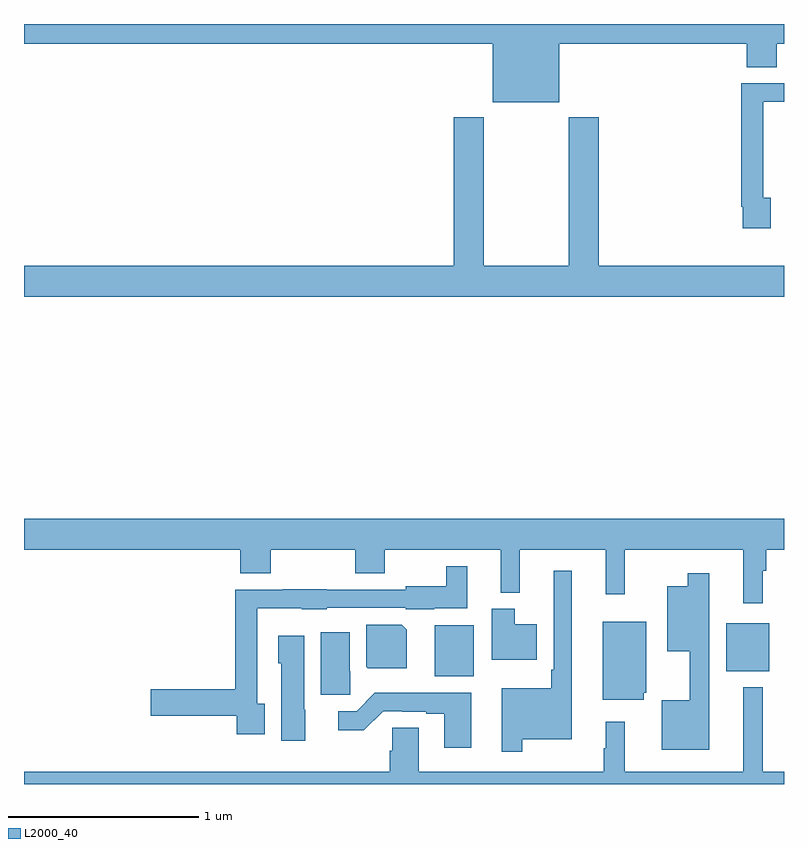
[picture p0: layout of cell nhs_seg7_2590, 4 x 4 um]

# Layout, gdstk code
import gdstk
lib = gdstk.Library(unit=1e-6, precision=1e-09)
def R(c, l, rs):  # rectangles x0, y0, x1, y1
    for r in rs: c.add(gdstk.rectangle(r[:2], r[2:], *l))
def P(c, l, *ps):  # polygons
    for p in ps: c.add(gdstk.Polygon(p, *l))
L2000_40 = (2000, 40)

nhs_seg7_2590 = lib.new_cell('nhs_seg7_2590')
R(nhs_seg7_2590, L2000_40, [(281.162,1050.566,281.368,1050.836), (282.695,1050.593,282.922,1050.847)])
P(nhs_seg7_2590, L2000_40, [(281.818,1053.896),(282.803,1053.896),(282.803,1053.772),(282.963,1053.772),(282.963,1053.896),(283,1053.896),(283,1054),(279,1054),(279,1053.896),(281.468,1053.896),(281.468,1053.587),(281.818,1053.587)],
  [(282.931,1053.086),(282.891,1053.086),(282.891,1053.59),(283,1053.59),(283,1053.687),(282.775,1053.687),(282.775,1053.037),(282.783,1053.037),(282.783,1052.925),(282.931,1052.925)],
  [(283,1052.728),(282.026,1052.728),(282.026,1053.508),(281.866,1053.508),(281.866,1052.728),(281.421,1052.728),(281.421,1053.508),(281.261,1053.508),(281.261,1052.728),(279,1052.728),(279,1052.564),(283,1052.564)],
  [(282.889,1051.123),(282.907,1051.123),(282.907,1051.232),(283,1051.232),(283,1051.396),(279,1051.396),(279,1051.232),(280.139,1051.232),(280.139,1051.108),(280.299,1051.108),(280.299,1051.232),(280.744,1051.232),(280.744,1051.108),(280.899,1051.108),(280.899,1051.232),(281.51,1051.232),(281.51,1051.007),(281.609,1051.007),(281.609,1051.232),(282.062,1051.232),(282.062,1050.999),(282.162,1050.999),(282.162,1051.232),(282.785,1051.232),(282.785,1050.951),(282.889,1050.951)],
  [(280.267,1050.422),(280.227,1050.422),(280.227,1050.926),(280.461,1050.926),(280.461,1050.92),(280.593,1050.92),(280.593,1050.927),(281.01,1050.927),(281.01,1050.92),(281.16,1050.92),(281.16,1050.926),(281.333,1050.926),(281.333,1051.147),(281.223,1051.147),(281.223,1051.042),(281.01,1051.042),(281.01,1051.023),(280.593,1051.023),(280.593,1051.025),(280.361,1051.025),(280.361,1051.023),(280.111,1051.023),(280.111,1050.5),(279.666,1050.5),(279.666,1050.358),(280.119,1050.358),(280.119,1050.261),(280.267,1050.261)],
  [(281.623,1050.236),(281.884,1050.236),(281.884,1051.123),(281.787,1051.123),(281.787,1050.601),(281.775,1050.601),(281.775,1050.505),(281.514,1050.505),(281.514,1050.171),(281.623,1050.171)],
  [(282.607,1051.108),(282.493,1051.108),(282.493,1051.042),(282.386,1051.042),(282.386,1050.698),(282.503,1050.698),(282.503,1050.442),(282.356,1050.442),(282.356,1050.179),(282.607,1050.179)],
  [(281.698,1050.841),(281.584,1050.841),(281.584,1050.922),(281.462,1050.922),(281.462,1050.653),(281.698,1050.653)],
  [(282.262,1050.48),(282.274,1050.48),(282.274,1050.853),(282.047,1050.853),(282.047,1050.443),(282.262,1050.443)],
  [(281.014,1050.812),(280.988,1050.838),(280.802,1050.838),(280.802,1050.616),(280.81,1050.608),(281.014,1050.608)],
  [(280.718,1050.594),(280.714,1050.594),(280.714,1050.799),(280.562,1050.799),(280.562,1050.471),(280.718,1050.471)],
  [(280.48,1050.39),(280.474,1050.39),(280.474,1050.781),(280.337,1050.781),(280.337,1050.636),(280.355,1050.636),(280.355,1050.228),(280.48,1050.228)],
  [(283,1050.064),(282.889,1050.064),(282.889,1050.508),(282.785,1050.508),(282.785,1050.064),(282.161,1050.064),(282.161,1050.328),(282.062,1050.328),(282.062,1050.188),(282.051,1050.188),(282.051,1050.064),(281.077,1050.064),(281.077,1050.296),(280.938,1050.296),(280.938,1050.174),(280.925,1050.174),(280.925,1050.064),(279,1050.064),(279,1050),(283,1050)],
  [(281.353,1050.479),(280.847,1050.479),(280.752,1050.384),(280.653,1050.384),(280.653,1050.282),(280.788,1050.282),(280.89,1050.384),(280.99,1050.384),(280.99,1050.381),(281.117,1050.381),(281.117,1050.369),(281.213,1050.369),(281.213,1050.192),(281.353,1050.192)])

lib.write_gds('nhs_seg7_2590.gds')
